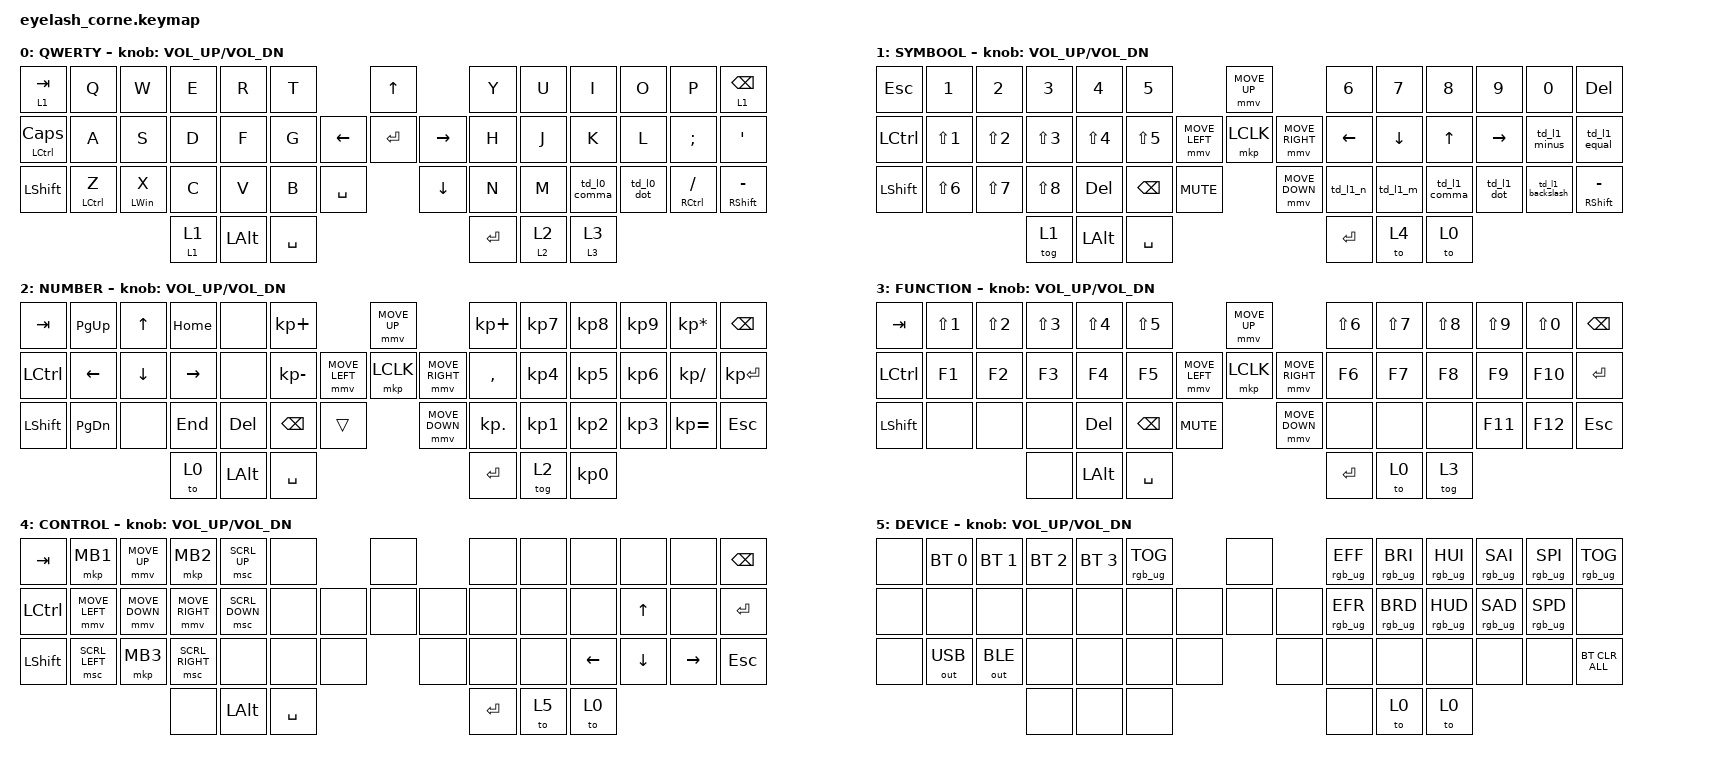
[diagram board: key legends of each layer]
#define ZMK_POINTING_DEFAULT_MOVE_VAL 1200  // 600
#define ZMK_POINTING_DEFAULT_SCRL_VAL 25   // 10

#include <input/processors.dtsi>
#include <zephyr/dt-bindings/input/input-event-codes.h>
#include <behaviors.dtsi>
#include <dt-bindings/zmk/bt.h>
#include <dt-bindings/zmk/keys.h>
#include <dt-bindings/zmk/outputs.h>
#include <dt-bindings/zmk/pointing.h>
#include <dt-bindings/zmk/rgb.h>

/* MS-Battery #include <behaviors/rgbled_widget.dtsi>  // needed to use the behaviors */

&mmv_input_listener { input-processors = <&zip_xy_scaler 2 1>; };

&msc_input_listener { input-processors = <&zip_scroll_scaler 2 1>; };

/ {
    macros {
        mc_email_00: mc_email_00 {
            compatible = "zmk,behavior-macro";
            #binding-cells = <0>;
            bindings = <&kp G &kp O &kp L &kp D &kp G &kp I &kp N &kp G &kp E &kp R &kp N5 &kp LS(NUMBER_2) &kp G &kp M &kp A &kp I &kp L &kp DOT &kp C &kp O &kp M>;
            label = "MC_EMAIL_00";
        };

        mc_email_01: mc_email_01 {
            compatible = "zmk,behavior-macro";
            #binding-cells = <0>;
            bindings = <&kp M &kp A &kp S &kp A &kp Y &kp U &kp K &kp I &kp DOT &kp S &kp H &kp I &kp M &kp I &kp Z &kp U &kp LS(NUMBER_2) &kp R &kp I &kp N &kp G &kp J &kp I &kp N &kp DOT &kp C &kp O &kp M>;
            label = "MC_EMAIL_01";
        };

        mc_parenthesis: mc_parenthesis {
            compatible = "zmk,behavior-macro";
            #binding-cells = <0>;
            bindings = <&kp LS(N9) &kp LS(N0) &kp LEFT>;
            label = "MC_PARENTHESIS";
        };

        mc_brace: mc_brace {
            compatible = "zmk,behavior-macro";
            #binding-cells = <0>;
            bindings = <&kp LS(LEFT_BRACKET) &kp LS(RIGHT_BRACKET) &kp LEFT>;
            label = "MC_BRACE";
        };

        mc_bracket: mc_bracket {
            compatible = "zmk,behavior-macro";
            #binding-cells = <0>;
            bindings = <&kp LEFT_BRACKET &kp RIGHT_BRACKET &kp LEFT>;
            label = "MC_BRACKET";
        };
    };

    combos {
        compatible = "zmk,combos";

        L_Parenthesis {
            bindings = <&kp LS(NUMBER_9)>;
            key-positions = <4 3>;
        };

        L_Brace {
            bindings = <&kp LS(LEFT_BRACKET)>;
            key-positions = <4 3 2>;
        };

        L_Bracket {
            bindings = <&kp LEFT_BRACKET>;
            key-positions = <4 3 2 1>;
        };

        R_Parenthesis {
            bindings = <&kp LS(NUMBER_0)>;
            key-positions = <8 9>;
        };

        R_Brace {
            bindings = <&kp LS(RIGHT_BRACKET)>;
            key-positions = <8 9 10>;
        };

        R_Bracket {
            bindings = <&kp RIGHT_BRACKET>;
            key-positions = <8 9 10 11>;
        };

        Space {
            bindings = <&kp SPACE>;
            key-positions = <16 17>;
        };

        Tab {
            bindings = <&kp TAB>;
            key-positions = <16 15 17>;
        };

        Escape {
            bindings = <&kp ESCAPE>;
            key-positions = <16 15 14 17>;
        };

        BackSpace {
            bindings = <&kp BACKSPACE>;
            key-positions = <23 24>;
        };

        Delete {
            bindings = <&kp DELETE>;
            key-positions = <23 24 25>;
        };

        Enter {
            bindings = <&kp ENTER>;
            key-positions = <23 24 25 26>;
        };

        Equal-0 {
            bindings = <&kp EQUAL>;
            key-positions = <32 31>;
        };

        Backslash {
            bindings = <&kp BACKSLASH>;
            key-positions = <32 31 30>;
        };

        Grave {
            bindings = <&kp GRAVE>;
            key-positions = <29 30 31 32>;
        };

        Plus-0 {
            bindings = <&kp LS(EQUAL)>;
            key-positions = <37 38>;
        };

        Pipe {
            bindings = <&kp LS(BACKSLASH)>;
            key-positions = <37 38 39>;
        };

        Tilde {
            bindings = <&kp LS(GRAVE)>;
            key-positions = <37 38 39 40>;
        };

        Underscore {
            bindings = <&kp LS(MINUS)>;
            key-positions = <17 43>;
        };

        Minus {
            bindings = <&kp MINUS>;
            key-positions = <43 32>;
        };

        Plus-1 {
            bindings = <&kp LS(EQUAL)>;
            key-positions = <46 23>;
        };

        Equal-1 {
            bindings = <&kp EQUAL>;
            key-positions = <46 37>;
        };

        TO0 {
            bindings = <&to 0>;
            key-positions = <44 45>;
        };

        SoftOff {
            bindings = <&soft_off>;
            key-positions = <12 41 0 28>;
        };

        Email_00 {
            bindings = <&mc_email_00>;
            key-positions = <4 8>;
        };

        Email_01 {
            bindings = <&mc_email_01>;
            key-positions = <3 9>;
        };

        Parenthesis {
            bindings = <&mc_parenthesis>;
            key-positions = <17 23>;
        };

        Brace {
            bindings = <&mc_brace>;
            key-positions = <16 24>;
        };

        Bracket_sub2 {
            bindings = <&mc_bracket>;
            key-positions = <14 26>;
        };

        Bracket_sub1 {
            bindings = <&mc_bracket>;
            key-positions = <15 25>;
        };

        Bracket {
            bindings = <&mc_bracket>;
            key-positions = <17 16 23 24>;
        };
    };

    behaviors {
        /*
        mo_tag: mo_tag {
            compatible = "zmk,behavior-hold-tap";
            label = "MO_TAG";
            bindings = <&mo>, <&tog>;

            #binding-cells = <2>;
            tapping-term-ms = <200>;
        };
        */
        /*
        TD_L1: TD_L1 {
            compatible = "zmk,behavior-tap-dance";
            label = "TD_L1";
            #binding-cells = <0>;
            tapping-term-ms = <200>;
            bindings = <&hold_mo 1>, <&tap_tog 1>;
        };

        TD_L2: TD_L2 {
            compatible = "zmk,behavior-tap-dance";
            label = "TD_L2";
            #binding-cells = <0>;
            tapping-term-ms = <200>;
            bindings = <&hold_mo 2>, <&tap_tog 2>;
        };

        TD_L3: TD_L3 {
            compatible = "zmk,behavior-tap-dance";
            label = "TD_L3";
            #binding-cells = <0>;
            tapping-term-ms = <200>;
            bindings = <&hold_mo 3>, <&tap_tog 3>;
        };
        */
        /*
        hold_mo: hold_mo {
            compatible = "zmk,behavior-hold-tap";
            label = "HOLD_MO";
            bindings = <&mo>;
            #binding-cells = <2>;
            tapping-term-ms = <200>;
        };
        
        tap_tog: tap_tog {
            compatible = "zmk,behavior-hold-tap";
            label = "TAP_TOG";
            #binding-cells = <2>;
            tapping-term-ms = <200>;
            bindings = <&tog>;
        };
        */

        td_tt: td_tt {
            compatible = "zmk,behavior-hold-tap";
            label = "TD_TT";
            bindings = <&mo>, <&tog>;

            #binding-cells = <2>;
            tapping-term-ms = <200>;
        };

        // Physical Key: COMMA
        // Layer 0: Tap for ',' (Shift: '<') / Double tap for '('

        td_l0_comma: td_l0_comma {
            compatible = "zmk,behavior-tap-dance";
            label = "TD_L0_COMMA";
            #binding-cells = <0>;
            bindings = <&kp COMMA>, <&kp LEFT_PARENTHESIS>;
        };

        // Physical Key: DOT
        // Layer 0: Tap for '.' (Shift: '>') / Double tap for ')'

        td_l0_dot: td_l0_dot {
            compatible = "zmk,behavior-tap-dance";
            label = "TD_L0_DOT";
            #binding-cells = <0>;
            bindings = <&kp DOT>, <&kp RIGHT_PARENTHESIS>;
        };

        // Physical Key: COMMA
        // Layer 1: Tap for '[' / Double tap for '{'

        td_l1_comma: td_l1_comma {
            compatible = "zmk,behavior-tap-dance";
            label = "TD_L1_COMMA";
            #binding-cells = <0>;
            bindings = <&kp LEFT_BRACKET>, <&kp LEFT_BRACE>;
        };

        // Physical Key: DOT
        // Layer 1: Tap for ']' / Double tap for '}'

        td_l1_dot: td_l1_dot {
            compatible = "zmk,behavior-tap-dance";
            label = "TD_L1_DOT";
            #binding-cells = <0>;
            bindings = <&kp RIGHT_BRACKET>, <&kp RIGHT_BRACE>;
        };

        td_l1_n: td_l1_n {
            compatible = "zmk,behavior-tap-dance";
            label = "TD_L1_N";
            #binding-cells = <0>;
            bindings = <&kp SEMICOLON>, <&kp COLON>;
        };

        td_l1_m: td_l1_m {
            compatible = "zmk,behavior-tap-dance";
            label = "TD_L1_M";
            #binding-cells = <0>;
            bindings = <&kp SQT>, <&kp DOUBLE_QUOTES>;
        };

        td_l1_backslash: td_l1_backslash {
            compatible = "zmk,behavior-tap-dance";
            label = "TD_L1_BACKSLASH";
            #binding-cells = <0>;
            bindings = <&kp NON_US_BACKSLASH>, <&kp PIPE>;
        };

        td_l1_minus: td_l1_minus {
            compatible = "zmk,behavior-tap-dance";
            label = "TD_L1_MINUS";
            #binding-cells = <0>;
            bindings = <&kp MINUS>, <&kp UNDERSCORE>;
        };

        td_l1_equal: td_l1_equal {
            compatible = "zmk,behavior-tap-dance";
            label = "TD_L1_EQUAL";
            #binding-cells = <0>;
            bindings = <&kp EQUAL>, <&kp PLUS>;
        };
    };

    keymap {
        compatible = "zmk,keymap";

        default_layer {
            display-name = "QWERTY";
            bindings = <
&lt 1 TAB              &kp Q               &kp W           &kp E       &kp R         &kp T                             &kp UP                &kp Y       &kp U       &kp I         &kp O       &kp P                    &lt 1 BACKSPACE
&mt LEFT_CONTROL CAPS  &kp A               &kp S           &kp D       &kp F         &kp G                   &kp LEFT  &kp ENTER  &kp RIGHT  &kp H       &kp J       &kp K         &kp L       &kp SEMI                 &kp SQT
&kp LEFT_SHIFT         &mt LEFT_CONTROL Z  &mt LEFT_WIN X  &kp C       &kp V         &kp B      &kp SPACE              &kp DOWN              &kp N       &kp M       &td_l0_comma  &td_l0_dot  &mt RIGHT_CONTROL SLASH  &mt RIGHT_SHIFT MINUS
                                                           &td_tt 1 1  &kp LEFT_ALT  &kp SPACE                                               &kp RETURN  &td_tt 2 2  &td_tt 3 3
            >;

            sensor-bindings = <&inc_dec_kp C_VOLUME_UP C_VOL_DN>;
        };

        symbol_layer {
            display-name = "SYMBOOL";
            bindings = <
&kp ESCAPE        &kp N1            &kp N2            &kp N3            &kp N4            &kp N5                                       &mmv MOVE_UP                     &kp N6     &kp N7    &kp N8        &kp N9      &kp N0            &kp DELETE
&kp LEFT_CONTROL  &kp LS(NUMBER_1)  &kp LS(NUMBER_2)  &kp LS(NUMBER_3)  &kp LS(NUMBER_4)  &kp LS(N5)                   &mmv MOVE_LEFT  &mkp LCLK       &mmv MOVE_RIGHT  &kp LEFT   &kp DOWN  &kp UP        &kp RIGHT   &td_l1_minus      &td_l1_equal
&kp LSHIFT        &kp LS(NUMBER_6)  &kp LS(NUMBER_7)  &kp LS(NUMBER_8)  &kp DELETE        &kp BACKSPACE  &kp C_MUTE                    &mmv MOVE_DOWN                   &td_l1_n   &td_l1_m  &td_l1_comma  &td_l1_dot  &td_l1_backslash  &mt RIGHT_SHIFT MINUS
                                                      &tog 1            &kp LALT          &kp SPACE                                                                     &kp ENTER  &to 4     &to 0
            >;

            sensor-bindings = <&inc_dec_kp C_VOLUME_UP C_VOL_DN>;
        };

        number_layer {
            display-name = "NUMBER";
            bindings = <
&kp TAB           &kp PG_UP  &kp UP    &kp HOME   &none       &kp KP_PLUS                              &mmv MOVE_UP                     &kp KP_PLUS  &kp KP_NUMBER_7  &kp KP_NUMBER_8  &kp KP_NUMBER_9  &kp KP_ASTERISK  &kp BSPC
&kp LEFT_CONTROL  &kp LEFT   &kp DOWN  &kp RIGHT  &none       &kp KP_MINUS             &mmv MOVE_LEFT  &mkp LCLK       &mmv MOVE_RIGHT  &kp COMMA    &kp KP_NUMBER_4  &kp KP_NUMBER_5  &kp KP_NUMBER_6  &kp KP_SLASH     &kp KP_ENTER
&kp LSHIFT        &kp PG_DN  &none     &kp END    &kp DELETE  &kp BACKSPACE  &trans                    &mmv MOVE_DOWN                   &kp KP_DOT   &kp KP_NUMBER_1  &kp KP_NUMBER_2  &kp KP_NUMBER_3  &kp KP_EQUAL     &kp ESCAPE
                                       &to 0      &kp LALT    &kp SPACE                                                                 &kp RET      &tog 2           &kp KP_NUMBER_0
            >;

            sensor-bindings = <&inc_dec_kp C_VOLUME_UP C_VOL_DN>;
        };

        function_layer {
            display-name = "FUNCTION";
            bindings = <
&kp TAB           &kp LS(NUMBER_1)  &kp LS(NUMBER_2)  &kp LS(NUMBER_3)  &kp LS(NUMBER_4)  &kp LS(NUMBER_5)                                &mmv MOVE_UP                     &kp LS(NUMBER_6)  &kp LS(NUMBER_7)  &kp LS(NUMBER_8)  &kp LS(NUMBER_9)  &kp LS(NUMBER_0)  &kp BACKSPACE
&kp LEFT_CONTROL  &kp F1            &kp F2            &kp F3            &kp F4            &kp F5                          &mmv MOVE_LEFT  &mkp LCLK       &mmv MOVE_RIGHT  &kp F6            &kp F7            &kp F8            &kp F9            &kp F10           &kp ENTER
&kp LSHIFT        &none             &none             &none             &kp DELETE        &kp BACKSPACE     &kp C_MUTE                    &mmv MOVE_DOWN                   &none             &none             &none             &kp F11           &kp F12           &kp ESCAPE
                                                      &none             &kp LALT          &kp SPACE                                                                        &kp ENTER         &to 0             &tog 3
            >;

            sensor-bindings = <&inc_dec_kp C_VOLUME_UP C_VOL_DN>;
        };

        control_layer {
            display-name = "CONTROL";
            bindings = <
&kp TAB           &mkp MB1        &mmv MOVE_UP    &mkp MB2         &msc SCRL_UP    &none                      &none         &none      &none  &none     &none     &none      &kp BACKSPACE
&kp LEFT_CONTROL  &mmv MOVE_LEFT  &mmv MOVE_DOWN  &mmv MOVE_RIGHT  &msc SCRL_DOWN  &none               &none  &none  &none  &none      &none  &none     &kp UP    &none      &kp ENTER
&kp LSHIFT        &msc SCRL_LEFT  &mkp MB3        &msc SCRL_RIGHT  &none           &none      &none           &none         &none      &none  &kp LEFT  &kp DOWN  &kp RIGHT  &kp ESCAPE
                                                  &none            &kp LALT        &kp SPACE                                &kp ENTER  &to 5  &to 0
            >;

            sensor-bindings = <&inc_dec_kp C_VOLUME_UP C_VOL_DN>;
        };

        device_layer {
            display-name = "DEVICE";
            bindings = <
&none  &bt BT_SEL 0  &bt BT_SEL 1  &bt BT_SEL 2  &bt BT_SEL 3  &rgb_ug RGB_TOG                  &none         &rgb_ug RGB_EFF  &rgb_ug RGB_BRI  &rgb_ug RGB_HUI  &rgb_ug RGB_SAI  &rgb_ug RGB_SPI  &rgb_ug RGB_TOG
&none  &none         &none         &none         &none         &none                     &none  &none  &none  &rgb_ug RGB_EFR  &rgb_ug RGB_BRD  &rgb_ug RGB_HUD  &rgb_ug RGB_SAD  &rgb_ug RGB_SPD  &none
&none  &out OUT_USB  &out OUT_BLE  &none         &none         &none            &none           &none         &none            &none            &none            &none            &none            &bt BT_CLR_ALL
                                   &none         &none         &none                                          &none            &to 0            &to 0
            >;

            sensor-bindings = <&inc_dec_kp C_VOLUME_UP C_VOL_DN>;
        };
    };
};
